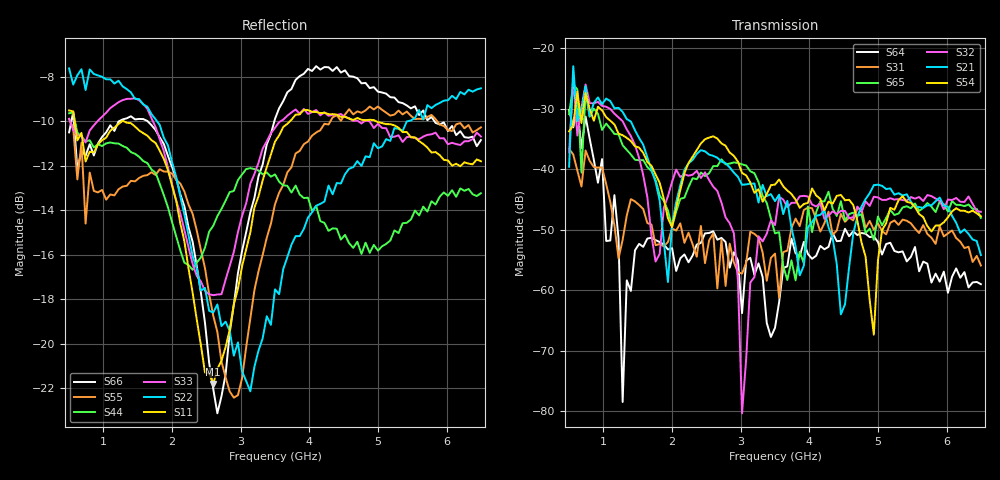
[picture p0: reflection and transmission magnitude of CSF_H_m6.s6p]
!Keysight Technologies,M9804A,MY58100912,A.14.10.03
!Date: Thursday, April 27, 2023 10:28:33
!Correction: S11(C  6-Port  )
!S12(C  6-Port  )
!S13(C  6-Port  )
!S14(C  6-Port  )
!S15(C  6-Port  )
!S16(C  6-Port  )
!S21(C  6-Port  )
!S22(C  6-Port  )
!S23(C  6-Port  )
!S24(C  6-Port  )
!S25(C  6-Port  )
!S26(C  6-Port  )
!S31(C  6-Port  )
!S32(C  6-Port  )
!S33(C  6-Port  )
!S34(C  6-Port  )
!S35(C  6-Port  )
!S36(C  6-Port  )
!S41(C  6-Port  )
!S42(C  6-Port  )
!S43(C  6-Port  )
!S44(C  6-Port  )
!S45(C  6-Port  )
!S46(C  6-Port  )
!S51(C  6-Port  )
!S52(C  6-Port  )
!S53(C  6-Port  )
!S54(C  6-Port  )
!S55(C  6-Port  )
!S56(C  6-Port  )
!S61(C  6-Port  )
!S62(C  6-Port  )
!S63(C  6-Port  )
!S64(C  6-Port  )
!S65(C  6-Port  )
!S66(C  6-Port  )
!S6P File: Measurement: :
# Hz S  RI  R 50
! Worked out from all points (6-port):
!   101 points, 500 MHz to 6.5 GHz, reference 50 ohm
!   strongest paths, dB at 500 MHz, 2 GHz, 3.5 GHz, 5 GHz, 6.5 GHz:
!     S54: -33.7, -49.5, -42.5, -55.0, -47.7
!     S21: -39.6, -49.1, -45.2, -42.5, -54.2
!     S32: -37.2, -42.1, -49.2, -44.6, -47.0
!     S65: -30.9, -49.5, -50.6, -47.8, -48.0
!     S31: -36.6, -49.8, -53.9, -48.9, -55.9
!     S64: -30.1, -53.0, -66.2, -52.0, -59.0
!   lowest |S11| = -21.8 dB at 2.6 GHz (marker M1), VSWR 1.18, Z = 42.7 + j1.9 ohm
!   |S11| at or under -10 dB: 580.5 MHz to 1.271 GHz (690.3 MHz wide, 74.6 % of centre); 1.296 GHz to 3.718 GHz (2.422 GHz wide, 96.6 % of centre); 4.973 GHz to end of sweep
